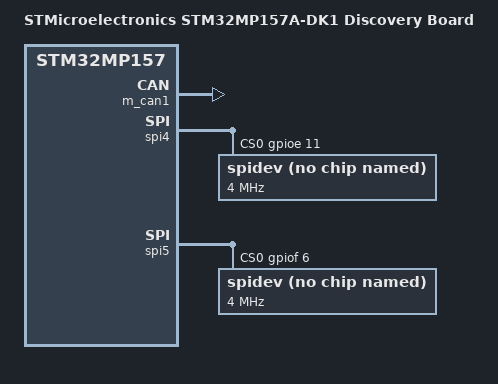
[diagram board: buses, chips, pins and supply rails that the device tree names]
// SPDX-License-Identifier: (GPL-2.0+ OR BSD-3-Clause)
/*
 * Copyright (C) STMicroelectronics 2019 - All Rights Reserved
 * Author: Alexandre Torgue <alexandre.torgue@st.com> for STMicroelectronics.
 */

/dts-v1/;

#include "stm32mp157.dtsi"
#include "stm32mp15-pinctrl.dtsi"
#include "stm32mp15xxac-pinctrl.dtsi"
#include "stm32mp15xx-dkx.dtsi"

/ {
	model = "STMicroelectronics STM32MP157A-DK1 Discovery Board";
	compatible = "st,stm32mp157a-dk1", "st,stm32mp157";

	aliases {
		ethernet0 = &ethernet0;
		serial0 = &uart4;
		serial1 = &usart3;
		serial2 = &uart7;
	};

	chosen {
		stdout-path = "serial0:115200n8";
	};
};
&m_can1 {
pinctrl-names = "default", "sleep";
pinctrl-0 = <&m_can1_pins_a>;
pinctrl-1 = <&m_can1_sleep_pins_a>;
status = "okay";
};
&spi4 {
	pinctrl-names = "default";
	pinctrl-0 = <&spi4_pins_b>;
	cs-gpios = <&gpioe 11 GPIO_ACTIVE_HIGH>;
	/* Use PIO Mode */
	/delete-property/dmas;
	/delete-property/dma-names;
	status = "okay";

	spidev@0 {
		compatible = "spidev";
		reg = <0>;
		spi-max-frequency = <4000000>;
		st,spi-midi-ns = <4000>;
	};
};

&spi5 {
	pinctrl-names = "default";
	pinctrl-0 = <&spi5_pins_a>;
	cs-gpios = <&gpiof 6 GPIO_ACTIVE_HIGH>;
	/* Use PIO Mode */
	/delete-property/dmas;
	/delete-property/dma-names;
	status = "okay";

	spidev@0 {
		compatible = "spidev";
		reg = <0>;
		spi-max-frequency = <4000000>;
		st,spi-midi-ns = <4000>;
	};
};
